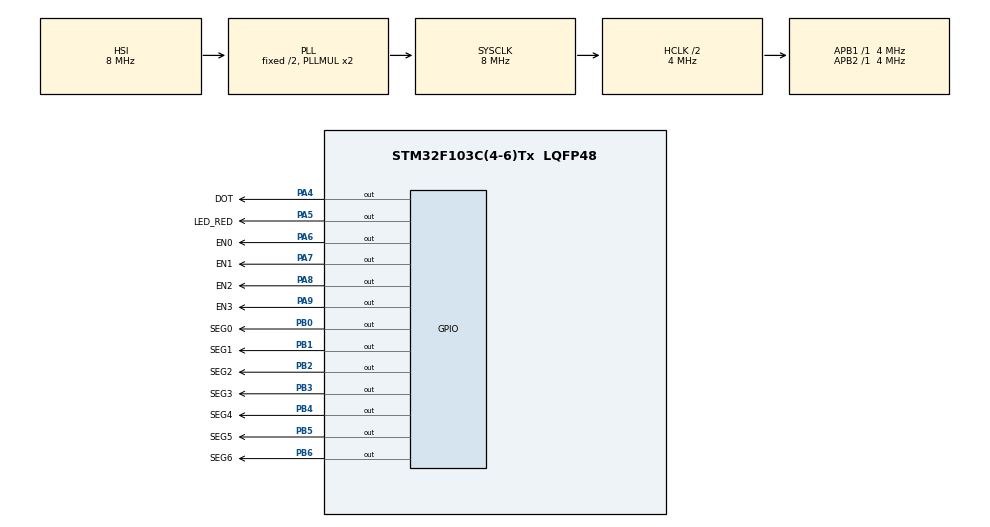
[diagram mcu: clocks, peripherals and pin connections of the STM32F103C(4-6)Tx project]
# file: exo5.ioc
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Mcu.Family=STM32F1
Mcu.Name=STM32F103C(4-6)Tx
Mcu.Package=LQFP48
NVIC.PriorityGroup=NVIC_PRIORITYGROUP_4
NVIC.TIM2_IRQn=true\:0\:0\:false\:false\:true\:true\:true
PA4.GPIO_Label=DOT
PA4.Signal=GPIO_Output
PA5.GPIO_Label=LED_RED
PA5.Signal=GPIO_Output
PA6.GPIO_Label=EN0
PA6.Signal=GPIO_Output
PA7.GPIO_Label=EN1
PA7.Signal=GPIO_Output
PA8.GPIO_Label=EN2
PA8.Signal=GPIO_Output
PA9.GPIO_Label=EN3
PA9.Signal=GPIO_Output
PB0.GPIO_Label=SEG0
PB0.Signal=GPIO_Output
PB1.GPIO_Label=SEG1
PB1.Signal=GPIO_Output
PB2.GPIO_Label=SEG2
PB2.Signal=GPIO_Output
PB3.GPIO_Label=SEG3
PB3.Signal=GPIO_Output
PB4.GPIO_Label=SEG4
PB4.Signal=GPIO_Output
PB5.GPIO_Label=SEG5
PB5.Signal=GPIO_Output
PB6.GPIO_Label=SEG6
PB6.Signal=GPIO_Output
ProjectManager.HeapSize=0x200
ProjectManager.StackSize=0x400
ProjectManager.TargetToolchain=STM32CubeIDE
RCC.AHBCLKDivider=RCC_SYSCLK_DIV2
RCC.AHBFreq_Value=4000000
RCC.APB1Freq_Value=4000000
RCC.APB1TimFreq_Value=4000000
RCC.APB2Freq_Value=4000000
RCC.APB2TimFreq_Value=4000000
RCC.HCLKFreq_Value=4000000
RCC.LockedElements=AHBOutput
RCC.SYSCLKFreq_VALUE=8000000
RCC.SYSCLKSource=RCC_SYSCLKSOURCE_PLLCLK
RCC.USBFreq_Value=8000000
TIM2.Period=9
TIM2.Prescaler=7999
VP_SYS_VS_ND.Mode=No_Debug
VP_TIM2_VS_ClockSourceINT.Mode=Internal
board=custom

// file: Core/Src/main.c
/* USER CODE BEGIN Header */
/**
  ******************************************************************************
  * @file           : main.c
  * @brief          : Main program body
  ******************************************************************************
  * @attention
  *
  * <h2><center>&copy; Copyright (c) 2022 STMicroelectronics.
  * All rights reserved.</center></h2>
  *
  * This software component is licensed by ST under BSD 3-Clause license,
  * the "License"; You may not use this file except in compliance with the
  * License. You may obtain a copy of the License at:
  *                        opensource.org/licenses/BSD-3-Clause
  *
  ******************************************************************************
  */
/* USER CODE END Header */
#include "main.h"

TIM_HandleTypeDef htim2;

void SystemClock_Config(void);
static void MX_GPIO_Init(void);
static void MX_TIM2_Init(void);

/* USER CODE BEGIN 0 */
void display7SEG(int num)
{
	if(num == 0)
	{
		HAL_GPIO_WritePin(SEG0_GPIO_Port, SEG0_Pin, GPIO_PIN_RESET);
		HAL_GPIO_WritePin(SEG1_GPIO_Port, SEG1_Pin, GPIO_PIN_RESET);
		HAL_GPIO_WritePin(SEG2_GPIO_Port, SEG2_Pin, GPIO_PIN_RESET);
		HAL_GPIO_WritePin(SEG3_GPIO_Port, SEG3_Pin, GPIO_PIN_RESET);
		HAL_GPIO_WritePin(SEG4_GPIO_Port, SEG4_Pin, GPIO_PIN_RESET);
		HAL_GPIO_WritePin(SEG5_GPIO_Port, SEG5_Pin, GPIO_PIN_RESET);
		HAL_GPIO_WritePin(SEG6_GPIO_Port, SEG6_Pin, GPIO_PIN_SET);
	}
	if(num == 1)
	{
		HAL_GPIO_WritePin(SEG0_GPIO_Port, SEG0_Pin, GPIO_PIN_SET);
		HAL_GPIO_WritePin(SEG1_GPIO_Port, SEG1_Pin, GPIO_PIN_RESET);
		HAL_GPIO_WritePin(SEG2_GPIO_Port, SEG2_Pin, GPIO_PIN_RESET);
		HAL_GPIO_WritePin(SEG3_GPIO_Port, SEG3_Pin, GPIO_PIN_SET);
		HAL_GPIO_WritePin(SEG4_GPIO_Port, SEG4_Pin, GPIO_PIN_SET);
		HAL_GPIO_WritePin(SEG5_GPIO_Port, SEG5_Pin, GPIO_PIN_SET);
		HAL_GPIO_WritePin(SEG6_GPIO_Port, SEG6_Pin, GPIO_PIN_SET);
	}
	if(num == 2)
	{
		HAL_GPIO_WritePin(SEG0_GPIO_Port, SEG0_Pin, GPIO_PIN_RESET);
		HAL_GPIO_WritePin(SEG1_GPIO_Port, SEG1_Pin, GPIO_PIN_RESET);
		HAL_GPIO_WritePin(SEG2_GPIO_Port, SEG2_Pin, GPIO_PIN_SET);
		HAL_GPIO_WritePin(SEG3_GPIO_Port, SEG3_Pin, GPIO_PIN_RESET);
		HAL_GPIO_WritePin(SEG4_GPIO_Port, SEG4_Pin, GPIO_PIN_RESET);
		HAL_GPIO_WritePin(SEG5_GPIO_Port, SEG5_Pin, GPIO_PIN_SET);
		HAL_GPIO_WritePin(SEG6_GPIO_Port, SEG6_Pin, GPIO_PIN_RESET);

	}
	if(num == 3)
	{
		HAL_GPIO_WritePin(SEG0_GPIO_Port, SEG0_Pin, GPIO_PIN_RESET);
		HAL_GPIO_WritePin(SEG1_GPIO_Port, SEG1_Pin, GPIO_PIN_RESET);
		HAL_GPIO_WritePin(SEG2_GPIO_Port, SEG2_Pin, GPIO_PIN_RESET);
		HAL_GPIO_WritePin(SEG3_GPIO_Port, SEG3_Pin, GPIO_PIN_RESET);
		HAL_GPIO_WritePin(SEG4_GPIO_Port, SEG4_Pin, GPIO_PIN_SET);
		HAL_GPIO_WritePin(SEG5_GPIO_Port, SEG5_Pin, GPIO_PIN_SET);
		HAL_GPIO_WritePin(SEG6_GPIO_Port, SEG6_Pin, GPIO_PIN_RESET);
	}
	if(num == 4)
	{
		HAL_GPIO_WritePin(SEG0_GPIO_Port, SEG0_Pin, GPIO_PIN_SET);
		HAL_GPIO_WritePin(SEG1_GPIO_Port, SEG1_Pin, GPIO_PIN_RESET);
		HAL_GPIO_WritePin(SEG2_GPIO_Port, SEG2_Pin, GPIO_PIN_RESET);
		HAL_GPIO_WritePin(SEG3_GPIO_Port, SEG3_Pin, GPIO_PIN_SET);
		HAL_GPIO_WritePin(SEG4_GPIO_Port, SEG4_Pin, GPIO_PIN_SET);
		HAL_GPIO_WritePin(SEG5_GPIO_Port, SEG5_Pin, GPIO_PIN_RESET);
		HAL_GPIO_WritePin(SEG6_GPIO_Port, SEG6_Pin, GPIO_PIN_RESET);
	}
	if(num == 5)
	{
		HAL_GPIO_WritePin(SEG0_GPIO_Port, SEG0_Pin, GPIO_PIN_RESET);
		HAL_GPIO_WritePin(SEG1_GPIO_Port, SEG1_Pin, GPIO_PIN_SET);
		HAL_GPIO_WritePin(SEG2_GPIO_Port, SEG2_Pin, GPIO_PIN_RESET);
		HAL_GPIO_WritePin(SEG3_GPIO_Port, SEG3_Pin, GPIO_PIN_RESET);
		HAL_GPIO_WritePin(SEG4_GPIO_Port, SEG4_Pin, GPIO_PIN_SET);
		HAL_GPIO_WritePin(SEG5_GPIO_Port, SEG5_Pin, GPIO_PIN_RESET);
		HAL_GPIO_WritePin(SEG6_GPIO_Port, SEG6_Pin, GPIO_PIN_RESET);
	}
	if(num == 6)
	{
		HAL_GPIO_WritePin(SEG0_GPIO_Port, SEG0_Pin, GPIO_PIN_RESET);
		HAL_GPIO_WritePin(SEG1_GPIO_Port, SEG1_Pin, GPIO_PIN_SET);
		HAL_GPIO_WritePin(SEG2_GPIO_Port, SEG2_Pin, GPIO_PIN_RESET);
		HAL_GPIO_WritePin(SEG3_GPIO_Port, SEG3_Pin, GPIO_PIN_RESET);
		HAL_GPIO_WritePin(SEG4_GPIO_Port, SEG4_Pin, GPIO_PIN_RESET);
		HAL_GPIO_WritePin(SEG5_GPIO_Port, SEG5_Pin, GPIO_PIN_RESET);
		HAL_GPIO_WritePin(SEG6_GPIO_Port, SEG6_Pin, GPIO_PIN_RESET);

	}
	if(num == 7)
	{
		HAL_GPIO_WritePin(SEG0_GPIO_Port, SEG0_Pin, GPIO_PIN_RESET);
		HAL_GPIO_WritePin(SEG1_GPIO_Port, SEG1_Pin, GPIO_PIN_RESET);
		HAL_GPIO_WritePin(SEG2_GPIO_Port, SEG2_Pin, GPIO_PIN_RESET);
		HAL_GPIO_WritePin(SEG3_GPIO_Port, SEG3_Pin, GPIO_PIN_SET);
		HAL_GPIO_WritePin(SEG4_GPIO_Port, SEG4_Pin, GPIO_PIN_SET);
		HAL_GPIO_WritePin(SEG5_GPIO_Port, SEG5_Pin, GPIO_PIN_SET);
		HAL_GPIO_WritePin(SEG6_GPIO_Port, SEG6_Pin, GPIO_PIN_SET);
	}
	if(num == 8)
	{
		HAL_GPIO_WritePin(SEG0_GPIO_Port, SEG0_Pin, GPIO_PIN_RESET);
		HAL_GPIO_WritePin(SEG1_GPIO_Port, SEG1_Pin, GPIO_PIN_RESET);
		HAL_GPIO_WritePin(SEG2_GPIO_Port, SEG2_Pin, GPIO_PIN_RESET);
		HAL_GPIO_WritePin(SEG3_GPIO_Port, SEG3_Pin, GPIO_PIN_RESET);
		HAL_GPIO_WritePin(SEG4_GPIO_Port, SEG4_Pin, GPIO_PIN_RESET);
		HAL_GPIO_WritePin(SEG5_GPIO_Port, SEG5_Pin, GPIO_PIN_RESET);
		HAL_GPIO_WritePin(SEG6_GPIO_Port, SEG6_Pin, GPIO_PIN_RESET);
	}
	if(num == 9)
	{
		HAL_GPIO_WritePin(SEG0_GPIO_Port, SEG0_Pin, GPIO_PIN_RESET);
		HAL_GPIO_WritePin(SEG1_GPIO_Port, SEG1_Pin, GPIO_PIN_RESET);
		HAL_GPIO_WritePin(SEG2_GPIO_Port, SEG2_Pin, GPIO_PIN_RESET);
		HAL_GPIO_WritePin(SEG3_GPIO_Port, SEG3_Pin, GPIO_PIN_RESET);
		HAL_GPIO_WritePin(SEG4_GPIO_Port, SEG4_Pin, GPIO_PIN_SET);
		HAL_GPIO_WritePin(SEG5_GPIO_Port, SEG5_Pin, GPIO_PIN_RESET);
		HAL_GPIO_WritePin(SEG6_GPIO_Port, SEG6_Pin, GPIO_PIN_RESET);
	}
}

const int MAX_LED = 4;
int index_led = 0;
int led_buffer [4] = {3 , 4, 5, 7};
int hour;
int minute;
int second;

void update7SEG (int index)
{
	switch (index)
	{
		case 0:
			// Display the first 7 SEG with led_buffer [0]
			{
				display7SEG(led_buffer[0]);
				HAL_GPIO_WritePin(EN0_GPIO_Port, EN0_Pin, GPIO_PIN_RESET);
				HAL_GPIO_WritePin(EN1_GPIO_Port, EN1_Pin, GPIO_PIN_SET);
				HAL_GPIO_WritePin(EN2_GPIO_Port, EN2_Pin, GPIO_PIN_SET);
				HAL_GPIO_WritePin(EN3_GPIO_Port, EN3_Pin, GPIO_PIN_SET);
				break;
			}
		case 1:
			// Display the second 7 SEG with led_buffer [1]
			{
				display7SEG(led_buffer[1]);
				HAL_GPIO_WritePin(EN0_GPIO_Port, EN0_Pin, GPIO_PIN_SET);
				HAL_GPIO_WritePin(EN1_GPIO_Port, EN1_Pin, GPIO_PIN_RESET);
				HAL_GPIO_WritePin(EN2_GPIO_Port, EN2_Pin, GPIO_PIN_SET);
				HAL_GPIO_WritePin(EN3_GPIO_Port, EN3_Pin, GPIO_PIN_SET);
				break;
			}
		case 2:
			// Display the third 7 SEG with led_buffer [2]
			{
				display7SEG(led_buffer[2]);
				HAL_GPIO_WritePin(EN0_GPIO_Port, EN0_Pin, GPIO_PIN_SET);
				HAL_GPIO_WritePin(EN1_GPIO_Port, EN1_Pin, GPIO_PIN_SET);
				HAL_GPIO_WritePin(EN2_GPIO_Port, EN2_Pin, GPIO_PIN_RESET);
				HAL_GPIO_WritePin(EN3_GPIO_Port, EN3_Pin, GPIO_PIN_SET);
				break;
			}
		case 3:
			// Display the forth 7 SEG with led_buffer [3]
			{
				display7SEG(led_buffer[3]);
				HAL_GPIO_WritePin(EN0_GPIO_Port, EN0_Pin, GPIO_PIN_SET);
				HAL_GPIO_WritePin(EN1_GPIO_Port, EN1_Pin, GPIO_PIN_SET);
				HAL_GPIO_WritePin(EN2_GPIO_Port, EN2_Pin, GPIO_PIN_SET);
				HAL_GPIO_WritePin(EN3_GPIO_Port, EN3_Pin, GPIO_PIN_RESET);
				break;
			}
		default :
			break ;
	}
}

void updateClockBuffer ()
{
	if(hour < 10)// if hour is 1 degit number, degit 0 is added
	{
		led_buffer[0] = 0;
		led_buffer[1] = hour;
	}
	if(hour >= 10)
	{
		led_buffer[0] = hour/10;
		led_buffer[1] = hour%10;
	}

	if(minute < 10)// if minute is 1 degit number, degit 0 is added
	{
		led_buffer[2] = 0;
		led_buffer[3] = minute;
	}
	if(minute >= 10)
	{
		led_buffer[2] = minute/10;
		led_buffer[3] = minute%10;
	}
}

/* USER CODE END 0 */

int main(void)
{

  /* MCU Configuration--------------------------------------------------------*/

  /* Reset of all peripherals, Initializes the Flash interface and the Systick. */
  HAL_Init();

  /* Configure the system clock */
  SystemClock_Config();

  /* Initialize all configured peripherals */
  MX_GPIO_Init();
  MX_TIM2_Init();
  /* USER CODE BEGIN 2 */
  HAL_TIM_Base_Start_IT(&htim2);
  /* USER CODE END 2 */

  /* Infinite loop */
  /* USER CODE BEGIN WHILE */
  hour = 13;
  minute = 6;
  second = 50;
  while (1)
  {
    /* USER CODE END WHILE */

    /* USER CODE BEGIN 3 */
	  second ++;
	  if (second >= 60)
	  {
		  second = 0;
	  	  minute++;
	  }
	  if(minute >= 60)
	  {
		  minute = 0;
	  	  hour++;
	  }
	  if(hour >= 24)
	  {
		  hour = 0;
	  }
	  updateClockBuffer();
	  HAL_Delay(1000);

  }
  /* USER CODE END 3 */
}

void SystemClock_Config(void)
{
  RCC_OscInitTypeDef RCC_OscInitStruct = {0};
  RCC_ClkInitTypeDef RCC_ClkInitStruct = {0};

  /** Initializes the RCC Oscillators according to the specified parameters
  * in the RCC_OscInitTypeDef structure.
  */
  RCC_OscInitStruct.OscillatorType = RCC_OSCILLATORTYPE_HSI;
  RCC_OscInitStruct.HSIState = RCC_HSI_ON;
  RCC_OscInitStruct.HSICalibrationValue = RCC_HSICALIBRATION_DEFAULT;
  RCC_OscInitStruct.PLL.PLLState = RCC_PLL_ON;
  RCC_OscInitStruct.PLL.PLLSource = RCC_PLLSOURCE_HSI_DIV2;
  RCC_OscInitStruct.PLL.PLLMUL = RCC_PLL_MUL2;
  if (HAL_RCC_OscConfig(&RCC_OscInitStruct) != HAL_OK)
  {
    Error_Handler();
  }
  /** Initializes the CPU, AHB and APB buses clocks
  */
  RCC_ClkInitStruct.ClockType = RCC_CLOCKTYPE_HCLK|RCC_CLOCKTYPE_SYSCLK
                              |RCC_CLOCKTYPE_PCLK1|RCC_CLOCKTYPE_PCLK2;
  RCC_ClkInitStruct.SYSCLKSource = RCC_SYSCLKSOURCE_PLLCLK;
  RCC_ClkInitStruct.AHBCLKDivider = RCC_SYSCLK_DIV2;
  RCC_ClkInitStruct.APB1CLKDivider = RCC_HCLK_DIV1;
  RCC_ClkInitStruct.APB2CLKDivider = RCC_HCLK_DIV1;

  if (HAL_RCC_ClockConfig(&RCC_ClkInitStruct, FLASH_LATENCY_0) != HAL_OK)
  {
    Error_Handler();
  }
}

static void MX_TIM2_Init(void)
{

  TIM_ClockConfigTypeDef sClockSourceConfig = {0};
  TIM_MasterConfigTypeDef sMasterConfig = {0};

  htim2.Instance = TIM2;
  htim2.Init.Prescaler = 7999;
  htim2.Init.CounterMode = TIM_COUNTERMODE_UP;
  htim2.Init.Period = 9;
  htim2.Init.ClockDivision = TIM_CLOCKDIVISION_DIV1;
  htim2.Init.AutoReloadPreload = TIM_AUTORELOAD_PRELOAD_DISABLE;
  if (HAL_TIM_Base_Init(&htim2) != HAL_OK)
  {
    Error_Handler();
  }
  sClockSourceConfig.ClockSource = TIM_CLOCKSOURCE_INTERNAL;
  if (HAL_TIM_ConfigClockSource(&htim2, &sClockSourceConfig) != HAL_OK)
  {
    Error_Handler();
  }
  sMasterConfig.MasterOutputTrigger = TIM_TRGO_RESET;
  sMasterConfig.MasterSlaveMode = TIM_MASTERSLAVEMODE_DISABLE;
  if (HAL_TIMEx_MasterConfigSynchronization(&htim2, &sMasterConfig) != HAL_OK)
  {
    Error_Handler();
  }

}

static void MX_GPIO_Init(void)
{
  GPIO_InitTypeDef GPIO_InitStruct = {0};

  /* GPIO Ports Clock Enable */
  __HAL_RCC_GPIOA_CLK_ENABLE();
  __HAL_RCC_GPIOB_CLK_ENABLE();

  /*Configure GPIO pin Output Level */
  HAL_GPIO_WritePin(GPIOA, DOT_Pin|LED_RED_Pin|EN0_Pin|EN1_Pin
                          |EN2_Pin|EN3_Pin, GPIO_PIN_RESET);

  /*Configure GPIO pin Output Level */
  HAL_GPIO_WritePin(GPIOB, SEG0_Pin|SEG1_Pin|SEG2_Pin|SEG3_Pin
                          |SEG4_Pin|SEG5_Pin|SEG6_Pin, GPIO_PIN_RESET);

  /*Configure GPIO pins : DOT_Pin LED_RED_Pin EN0_Pin EN1_Pin
                           EN2_Pin EN3_Pin */
  GPIO_InitStruct.Pin = DOT_Pin|LED_RED_Pin|EN0_Pin|EN1_Pin
                          |EN2_Pin|EN3_Pin;
  GPIO_InitStruct.Mode = GPIO_MODE_OUTPUT_PP;
  GPIO_InitStruct.Pull = GPIO_NOPULL;
  GPIO_InitStruct.Speed = GPIO_SPEED_FREQ_LOW;
  HAL_GPIO_Init(GPIOA, &GPIO_InitStruct);

  /*Configure GPIO pins : SEG0_Pin SEG1_Pin SEG2_Pin SEG3_Pin
                           SEG4_Pin SEG5_Pin SEG6_Pin */
  GPIO_InitStruct.Pin = SEG0_Pin|SEG1_Pin|SEG2_Pin|SEG3_Pin
                          |SEG4_Pin|SEG5_Pin|SEG6_Pin;
  GPIO_InitStruct.Mode = GPIO_MODE_OUTPUT_PP;
  GPIO_InitStruct.Pull = GPIO_NOPULL;
  GPIO_InitStruct.Speed = GPIO_SPEED_FREQ_LOW;
  HAL_GPIO_Init(GPIOB, &GPIO_InitStruct);

}

/* USER CODE BEGIN 4 */
int counter_led_red = 100;// initial timer counter for LED-RED
int counter_7seg = 25;// initial timer counter for led 7-SEG

HAL_TIM_PeriodElapsedCallback(TIM_HandleTypeDef *htim)
{
	// control LED-RED and DOT-LED blink every second
	if(counter_led_red > 0) counter_led_red--;
	if(counter_led_red <= 0)
	{
		counter_led_red = 100;
		HAL_GPIO_TogglePin(LED_RED_GPIO_Port, LED_RED_Pin);
		HAL_GPIO_TogglePin(DOT_GPIO_Port, DOT_Pin);
	}

	// control 4 led 7-SEG
	if(counter_7seg > 0) counter_7seg--;
	if(counter_7seg <= 0)
	{
		counter_7seg = 25;
		update7SEG(index_led++);
	}
	if(index_led == MAX_LED) index_led = 0;
}
/* USER CODE END 4 */

void Error_Handler(void)
{
  __disable_irq();
  while (1)
  {
  }
}

/************************ (C) COPYRIGHT STMicroelectronics *****END OF FILE****/
